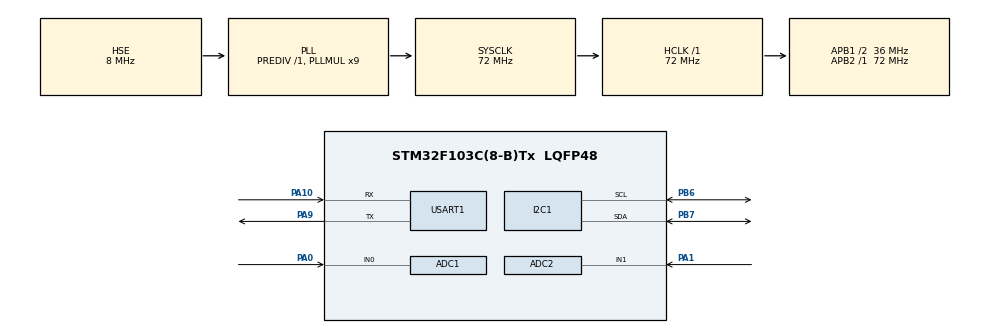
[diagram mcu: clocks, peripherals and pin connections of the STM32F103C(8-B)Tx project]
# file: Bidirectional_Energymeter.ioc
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Mcu.Family=STM32F1
RCC.PLLSourceVirtual=RCC_PLLSOURCE_HSE
ADC1.Rank-0\#ChannelRegularConversion=1
PD1-OSC_OUT.Mode=HSE-External-Oscillator
PA10.Mode=Asynchronous
ADC1.ContinuousConvMode=ENABLE
PD0-OSC_IN.Signal=RCC_OSC_IN
RCC.APB1CLKDivider=RCC_HCLK_DIV2
RCC.SYSCLKSource=RCC_SYSCLKSOURCE_PLLCLK
ProjectManager.StackSize=0x400
PA0-WKUP.Signal=ADCx_IN0
PD1-OSC_OUT.Signal=RCC_OSC_OUT
RCC.ADCPresc=RCC_ADCPCLK2_DIV6
PA13.Signal=SYS_JTMS-SWDIO
PA9.Mode=Asynchronous
ADC2.ContinuousConvMode=ENABLE
ProjectManager.TargetToolchain=STM32CubeIDE
RCC.HCLKFreq_Value=72000000
RCC.APB2TimFreq_Value=72000000
PA9.Signal=USART1_TX
PB6.Signal=I2C1_SCL
PB6.Mode=I2C
RCC.USBFreq_Value=72000000
PA1.Signal=ADCx_IN1
RCC.AHBFreq_Value=72000000
PD0-OSC_IN.Mode=HSE-External-Oscillator
ADC1.Channel-0\#ChannelRegularConversion=ADC_CHANNEL_0
board=custom
RCC.PLLMUL=RCC_PLL_MUL9
ADC2.Channel-2\#ChannelRegularConversion=ADC_CHANNEL_1
RCC.APB2Freq_Value=72000000
PA14.Mode=Serial_Wire
PB7.Signal=I2C1_SDA
SH.ADCx_IN0.0=ADC1_IN0,IN0
PA13.Mode=Serial_Wire
Mcu.Name=STM32F103C(8-B)Tx
ADC1.SamplingTime-0\#ChannelRegularConversion=ADC_SAMPLETIME_1CYCLE_5
RCC.SYSCLKFreq_VALUE=72000000
Mcu.Package=LQFP48
ADC1.master=1
ADC2.NbrOfConversionFlag=1
USART1.VirtualMode=VM_ASYNC
PB7.Mode=I2C
PA10.Signal=USART1_RX
PA14.Signal=SYS_JTCK-SWCLK
ProjectManager.HeapSize=0x200
NVIC.PriorityGroup=NVIC_PRIORITYGROUP_4
ADC1.NbrOfConversionFlag=1
SH.ADCx_IN1.0=ADC2_IN1,IN1
ADC2.SamplingTime-2\#ChannelRegularConversion=ADC_SAMPLETIME_1CYCLE_5
RCC.APB1TimFreq_Value=72000000
ADC2.Rank-2\#ChannelRegularConversion=1
RCC.APB1Freq_Value=36000000

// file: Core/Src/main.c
/* USER CODE BEGIN Header */
/**
  ******************************************************************************
  * @file           : main.c
  * @brief          : Main program body
  ******************************************************************************
  * @attention
  *
  * <h2><center>&copy; Copyright (c) 2021 STMicroelectronics.
  * All rights reserved.</center></h2>
  *
  * This software component is licensed by ST under BSD 3-Clause license,
  * the "License"; You may not use this file except in compliance with the
  * License. You may obtain a copy of the License at:
  *                        opensource.org/licenses/BSD-3-Clause
  *
  ******************************************************************************
  */
/* USER CODE END Header */
#include "main.h"

/* USER CODE BEGIN Includes */
#include <string.h>
#include <stdio.h>
#include <stdlib.h>
#include <stdbool.h>

#include "math.h"
#include "micros.h" //https://github.com/leech001/micros
#include "i2c-lcd.h"

/* USER CODE END Includes */

/* USER CODE BEGIN PTD */
#define map(x,in_min,in_max,out_min,out_max) ( (x-in_min) * (out_max-out_min) / (in_max-in_min) + out_min )
/* USER CODE END PTD */

ADC_HandleTypeDef hadc1;
ADC_HandleTypeDef hadc2;

I2C_HandleTypeDef hi2c1;

UART_HandleTypeDef huart1;

/* USER CODE BEGIN PV */
//serial komunikasi
uint8_t buff_s[200];
uint16_t ukuranstring;
char buffer[5];
//timer
unsigned long time_send = 0;
unsigned long startfreq = 0;
unsigned long currentMillisAC = 0;
unsigned long startMillisAC = 0;
unsigned long time_power = 0;
unsigned long time_energy = 0;
int ACfreqState = 0, cure = 0;
//sensor arus
float sensitivity;
//tegangan
float Vsensitivity;
float Volt_rms = 0, Voltoffset = 0;
//frekuesi
float frequensi = 0;
uint32_t absl = 2, factor_inner = 0;
float freqsample = 0, cycleNumber = 0;
int ACFrequencyWait = 0;
//power
float Power = 0, realPowerAC = 0, apparentPower = 0;
float powerFactorAC = 0;
uint32_t Power_count = 0;
//energymeter
float finalEnergyAC = 0;
float netEnergyAC = 0, importEnergyAC = 0, exportEnergyAC = 0;
/* USER CODE END PV */

void SystemClock_Config(void);
static void MX_GPIO_Init(void);
static void MX_ADC1_Init(void);
static void MX_USART1_UART_Init(void);
static void MX_ADC2_Init(void);
static void MX_I2C1_Init(void);

/* USER CODE BEGIN 0 */
uint32_t micros();
void delay_us();
//kalibrasi sensor arus
int zero_acs = 0;
int zero_zmpt = 0;
float Arus_rms = 0;
int32_t Inow;
int32_t Vnow;
int acs712_calibrate(){
	uint16_t acc = 0;
	for (int i = 0; i < 10; i++) {
		HAL_ADC_Start(&hadc2);
		while (__HAL_ADC_GET_FLAG(&hadc2, ADC_FLAG_EOC) != SET){;}
		HAL_ADC_Stop(&hadc2);
		acc += HAL_ADC_GetValue(&hadc2);

		ukuranstring = sprintf((char*)buff_s, "%d ADC \r\n", acc);
		HAL_UART_Transmit(&huart1, buff_s, ukuranstring, 100);
	}
	int zero = acc / 10;
	return zero;
}
int Zmpt_calibrate(){
	uint16_t vcc = 0;
	for (int i = 0; i < 10; i++) {
		HAL_ADC_Start(&hadc1);
		while (__HAL_ADC_GET_FLAG(&hadc1, ADC_FLAG_EOC) != SET){;}
		HAL_ADC_Stop(&hadc1);
		vcc += HAL_ADC_GetValue(&hadc1);

		ukuranstring = sprintf((char*)buff_s, "%d ADC \r\n", vcc);
		HAL_UART_Transmit(&huart1, buff_s, ukuranstring, 100);
	}
	int zero = vcc / 10;
	return zero;
}
int factor_freq(){
	uint32_t fa = absl * 25;
	uint32_t absl2 = 0;
	for (int i = 0; i < fa; i++) {
		absl2 ++;
	}
	return absl2;
}
//get sensor acs712
float acs712_get(uint16_t frequency){
	uint32_t periode = 1000000 / frequency;
	uint32_t t_start = micros();
	int32_t Isum = 0, measurements_count = 0;
	while (micros() - t_start < periode) {
		HAL_ADC_Start(&hadc2);
		while (__HAL_ADC_GET_FLAG(&hadc2, ADC_FLAG_EOC) != SET){;}
		Inow = HAL_ADC_GetValue(&hadc2) - zero_acs;
		HAL_ADC_Stop(&hadc2);
		Isum += Inow*Inow;
		measurements_count++;
	}
	sensitivity = 0.180; /*ACS712_05B:*/ //0.185
	//sensitivity = 0.100; /*ACS712_20A:*/
	//sensitivity = 0.066; // ACS712_30A:
	if (Isum < 0){
	   Arus_rms = (sqrt(Isum / measurements_count)/ 4095 * 3.30/ sensitivity)*-1;
	} else if (Isum >= 0){
	   Arus_rms = sqrt(Isum / measurements_count)/ 4095 * 3.30/ sensitivity;
	}
	return Arus_rms;
}
void Lcd_name(){
	lcd_clear();
	lcd_send_cmd(0x80|0x02);
	lcd_send_string("KWH METER SOLLAR");
	lcd_send_cmd(0x80|0x43);
	lcd_send_string("BI-DIRECTIONAL");
	lcd_send_cmd(0x80|0x16);
	lcd_send_string("NAMA: M.FARKHAN");
	lcd_send_cmd(0x80|0x57);
	lcd_send_string("NRP: 1303181015");
	HAL_Delay(3000);
	lcd_clear();
}
void set(){
	  lcd_send_cmd(0x80|0x09); lcd_send_string("|");
	  lcd_send_cmd(0x80|0x49); lcd_send_string("|");
	  lcd_send_cmd(0x80|0x1D); lcd_send_string("|");
	  lcd_send_cmd(0x80|0x5D); lcd_send_string("|");
	  lcd_send_cmd(0x80|0x0A); lcd_send_string("|");
	  lcd_send_cmd(0x80|0x4A); lcd_send_string("|");
	  lcd_send_cmd(0x80|0x1E); lcd_send_string("|");
	  lcd_send_cmd(0x80|0x5E); lcd_send_string("|");
}
/* USER CODE END 0 */

int main(void)
{

  /* MCU Configuration--------------------------------------------------------*/

  /* Reset of all peripherals, Initializes the Flash interface and the Systick. */
  HAL_Init();

  /* Configure the system clock */
  SystemClock_Config();

  /* Initialize all configured peripherals */
  MX_GPIO_Init();
  MX_ADC1_Init();
  MX_USART1_UART_Init();
  MX_ADC2_Init();
  MX_I2C1_Init();
  /* USER CODE BEGIN 2 */
  lcd_init();
  DWT_Init();
  ukuranstring = sprintf((char*)buff_s, "Mulai Perhitungan Solar\r\n");
  HAL_UART_Transmit(&huart1, buff_s, ukuranstring, 10);
  zero_acs = acs712_calibrate();
  zero_zmpt = Zmpt_calibrate();
  factor_inner = factor_freq();
  ukuranstring = sprintf((char*)buff_s, "Zero ACS = %d | Zero ZMPT : %d\r\n", zero_acs, zero_zmpt);
  HAL_UART_Transmit(&huart1, buff_s, ukuranstring, 10);
  Lcd_name();
  time_power = HAL_GetTick();
  time_energy = HAL_GetTick();
  time_send = HAL_GetTick();
  /* USER CODE END 2 */

  /* Infinite loop */
  while (1)
  {

    /* USER CODE BEGIN 3 */
	  float Arus_acs = acs712_get(factor_inner);
	  uint32_t Vperiode = 1000000 / factor_inner; //f_factor
	  uint32_t Vt_start = micros();
	  int32_t Vsum = 0, Vmeasurements_count = 0;
	  while (micros() - Vt_start < Vperiode) {
		HAL_ADC_Start(&hadc1);
		while (__HAL_ADC_GET_FLAG(&hadc1, ADC_FLAG_EOC) != SET){;}
		Vnow = HAL_ADC_GetValue(&hadc1) - zero_zmpt;
		HAL_ADC_Stop(&hadc1);
		Vsum += Vnow*Vnow;
		Vmeasurements_count++;
	  }
	  sensitivity = 0.00239;
	  float V_tick = Vsum / Vmeasurements_count;
	  float Vmean = sqrt(Vsum / Vmeasurements_count);
	  Volt_rms = Vmean/ 4095 * 3.30/ sensitivity;
	  frequensi = (V_tick /10000) + ((V_tick /10000)/6); //EoC setting DMA micros stm32f103c8t6
	  //power
	  if (HAL_GetTick() >= time_power + 1){
		  float Pow = Arus_acs * Volt_rms;
		  Power += Pow;
		  Power_count ++;
		  time_power = HAL_GetTick();
	  }
	  if (Power_count == 100){
		  realPowerAC = Power/100;
		  apparentPower = Arus_acs * Volt_rms;
		  powerFactorAC = cos(realPowerAC/apparentPower);
		  if(realPowerAC < 0){
		      powerFactorAC = -1* cos(realPowerAC / apparentPower);
		  }
		  if(powerFactorAC > 1 || powerFactorAC <-1){
			  powerFactorAC = 0;
		  }
		  Power_count = 0; Power = 0; cure = 1;
	  }
	  if ((cure == 1) && (HAL_GetTick() >= time_energy + 1000)){
		  finalEnergyAC = ((realPowerAC / 3600) * (5000/1000));
		  netEnergyAC += finalEnergyAC;
		  if( realPowerAC >= 0){
		      importEnergyAC = importEnergyAC + finalEnergyAC;
		  }
		  if(realPowerAC < 0){
		      exportEnergyAC = exportEnergyAC - finalEnergyAC;
		  }
		  time_energy = HAL_GetTick();
	  }
	  if ((cure == 0) && (Power_count <=100)){
		  ukuranstring = sprintf((char*)buff_s, "Calibration : %lu | Volt : %f\r\n", Power_count, Volt_rms);
		  HAL_UART_Transmit(&huart1, buff_s, ukuranstring, 10);
		  lcd_send_cmd(0x80|0x05); lcd_send_string("Calibration");
		  lcd_send_cmd(0x80|0x16); sprintf(buffer, "time: %lu", Power_count); lcd_send_string(buffer);
		  lcd_send_cmd(0x80|0x42); sprintf(buffer, "Vrms: %.2fV", Volt_rms); lcd_send_string(buffer);
		  if (Power_count >= 99){
			  lcd_clear(); set();
			  ukuranstring = sprintf((char*)buff_s, "Kalibrasi Berhasil\r\n");
			  HAL_UART_Transmit(&huart1, buff_s, ukuranstring, 10);
		  }
	  }
	  if ((cure == 1) && (HAL_GetTick() >= time_send + 500)){
		  lcd_send_cmd(0x80|0x00); sprintf(buffer, "V:%.1f V", Volt_rms); lcd_send_string(buffer);
		  lcd_send_cmd(0x80|0x40); sprintf(buffer, "I:%.3f A", Arus_acs); lcd_send_string(buffer);
		  lcd_send_cmd(0x80|0x0B); sprintf(buffer, "P:%.2f W", realPowerAC); lcd_send_string(buffer);
		  lcd_send_cmd(0x80|0x4B); sprintf(buffer, "S:%.2fVA", apparentPower); lcd_send_string(buffer);
		  lcd_send_cmd(0x80|0x14); sprintf(buffer, "F:%.1f Hz", frequensi); lcd_send_string(buffer);
		  lcd_send_cmd(0x80|0x54); sprintf(buffer, "net:%.1fWh", netEnergyAC); lcd_send_string(buffer);
		  lcd_send_cmd(0x80|0x1F); sprintf(buffer, "Ex:%.2fWh", exportEnergyAC); lcd_send_string(buffer);
		  lcd_send_cmd(0x80|0x5F); sprintf(buffer, "Im:%.2fWh", importEnergyAC); lcd_send_string(buffer);
		  ukuranstring =
				  sprintf((char*)buff_s, "Arus: %.3f | Volt: %.2f | Daya: %.2f | VA: %.2f "
						  	  	  	  	  "| PF: %.3f | netE: %.2f | import: %.2f "
						  	  	  	  	  "| export: %.2f | f: %.2f\r\n",
										  Arus_acs, Volt_rms, realPowerAC, apparentPower,
										  powerFactorAC, netEnergyAC, importEnergyAC,
										  exportEnergyAC, frequensi);
		  HAL_UART_Transmit(&huart1, buff_s, ukuranstring, 100);
		  time_send = HAL_GetTick();
	  }
  }
  /* USER CODE END 3 */
}

void SystemClock_Config(void)
{
  RCC_OscInitTypeDef RCC_OscInitStruct = {0};
  RCC_ClkInitTypeDef RCC_ClkInitStruct = {0};
  RCC_PeriphCLKInitTypeDef PeriphClkInit = {0};

  /** Initializes the RCC Oscillators according to the specified parameters
  * in the RCC_OscInitTypeDef structure.
  */
  RCC_OscInitStruct.OscillatorType = RCC_OSCILLATORTYPE_HSE;
  RCC_OscInitStruct.HSEState = RCC_HSE_ON;
  RCC_OscInitStruct.HSEPredivValue = RCC_HSE_PREDIV_DIV1;
  RCC_OscInitStruct.HSIState = RCC_HSI_ON;
  RCC_OscInitStruct.PLL.PLLState = RCC_PLL_ON;
  RCC_OscInitStruct.PLL.PLLSource = RCC_PLLSOURCE_HSE;
  RCC_OscInitStruct.PLL.PLLMUL = RCC_PLL_MUL9;
  if (HAL_RCC_OscConfig(&RCC_OscInitStruct) != HAL_OK)
  {
    Error_Handler();
  }
  /** Initializes the CPU, AHB and APB buses clocks
  */
  RCC_ClkInitStruct.ClockType = RCC_CLOCKTYPE_HCLK|RCC_CLOCKTYPE_SYSCLK
                              |RCC_CLOCKTYPE_PCLK1|RCC_CLOCKTYPE_PCLK2;
  RCC_ClkInitStruct.SYSCLKSource = RCC_SYSCLKSOURCE_PLLCLK;
  RCC_ClkInitStruct.AHBCLKDivider = RCC_SYSCLK_DIV1;
  RCC_ClkInitStruct.APB1CLKDivider = RCC_HCLK_DIV2;
  RCC_ClkInitStruct.APB2CLKDivider = RCC_HCLK_DIV1;

  if (HAL_RCC_ClockConfig(&RCC_ClkInitStruct, FLASH_LATENCY_2) != HAL_OK)
  {
    Error_Handler();
  }
  PeriphClkInit.PeriphClockSelection = RCC_PERIPHCLK_ADC;
  PeriphClkInit.AdcClockSelection = RCC_ADCPCLK2_DIV6;
  if (HAL_RCCEx_PeriphCLKConfig(&PeriphClkInit) != HAL_OK)
  {
    Error_Handler();
  }
}

static void MX_ADC1_Init(void)
{

  ADC_ChannelConfTypeDef sConfig = {0};

  /** Common config
  */
  hadc1.Instance = ADC1;
  hadc1.Init.ScanConvMode = ADC_SCAN_DISABLE;
  hadc1.Init.ContinuousConvMode = ENABLE;
  hadc1.Init.DiscontinuousConvMode = DISABLE;
  hadc1.Init.ExternalTrigConv = ADC_SOFTWARE_START;
  hadc1.Init.DataAlign = ADC_DATAALIGN_RIGHT;
  hadc1.Init.NbrOfConversion = 1;
  if (HAL_ADC_Init(&hadc1) != HAL_OK)
  {
    Error_Handler();
  }
  /** Configure Regular Channel
  */
  sConfig.Channel = ADC_CHANNEL_0;
  sConfig.Rank = ADC_REGULAR_RANK_1;
  sConfig.SamplingTime = ADC_SAMPLETIME_1CYCLE_5;
  if (HAL_ADC_ConfigChannel(&hadc1, &sConfig) != HAL_OK)
  {
    Error_Handler();
  }

}

static void MX_ADC2_Init(void)
{

  ADC_ChannelConfTypeDef sConfig = {0};

  /** Common config
  */
  hadc2.Instance = ADC2;
  hadc2.Init.ScanConvMode = ADC_SCAN_DISABLE;
  hadc2.Init.ContinuousConvMode = ENABLE;
  hadc2.Init.DiscontinuousConvMode = DISABLE;
  hadc2.Init.ExternalTrigConv = ADC_SOFTWARE_START;
  hadc2.Init.DataAlign = ADC_DATAALIGN_RIGHT;
  hadc2.Init.NbrOfConversion = 1;
  if (HAL_ADC_Init(&hadc2) != HAL_OK)
  {
    Error_Handler();
  }
  /** Configure Regular Channel
  */
  sConfig.Channel = ADC_CHANNEL_1;
  sConfig.Rank = ADC_REGULAR_RANK_1;
  sConfig.SamplingTime = ADC_SAMPLETIME_1CYCLE_5;
  if (HAL_ADC_ConfigChannel(&hadc2, &sConfig) != HAL_OK)
  {
    Error_Handler();
  }

}

static void MX_I2C1_Init(void)
{

  hi2c1.Instance = I2C1;
  hi2c1.Init.ClockSpeed = 100000;
  hi2c1.Init.DutyCycle = I2C_DUTYCYCLE_2;
  hi2c1.Init.OwnAddress1 = 0;
  hi2c1.Init.AddressingMode = I2C_ADDRESSINGMODE_7BIT;
  hi2c1.Init.DualAddressMode = I2C_DUALADDRESS_DISABLE;
  hi2c1.Init.OwnAddress2 = 0;
  hi2c1.Init.GeneralCallMode = I2C_GENERALCALL_DISABLE;
  hi2c1.Init.NoStretchMode = I2C_NOSTRETCH_DISABLE;
  if (HAL_I2C_Init(&hi2c1) != HAL_OK)
  {
    Error_Handler();
  }

}

static void MX_USART1_UART_Init(void)
{

  huart1.Instance = USART1;
  huart1.Init.BaudRate = 115200;
  huart1.Init.WordLength = UART_WORDLENGTH_8B;
  huart1.Init.StopBits = UART_STOPBITS_1;
  huart1.Init.Parity = UART_PARITY_NONE;
  huart1.Init.Mode = UART_MODE_TX_RX;
  huart1.Init.HwFlowCtl = UART_HWCONTROL_NONE;
  huart1.Init.OverSampling = UART_OVERSAMPLING_16;
  if (HAL_UART_Init(&huart1) != HAL_OK)
  {
    Error_Handler();
  }

}

static void MX_GPIO_Init(void)
{

  /* GPIO Ports Clock Enable */
  __HAL_RCC_GPIOD_CLK_ENABLE();
  __HAL_RCC_GPIOA_CLK_ENABLE();
  __HAL_RCC_GPIOB_CLK_ENABLE();

}

void Error_Handler(void)
{
  __disable_irq();
  while (1)
  {
  }
}

/************************ (C) COPYRIGHT STMicroelectronics *****END OF FILE****/
